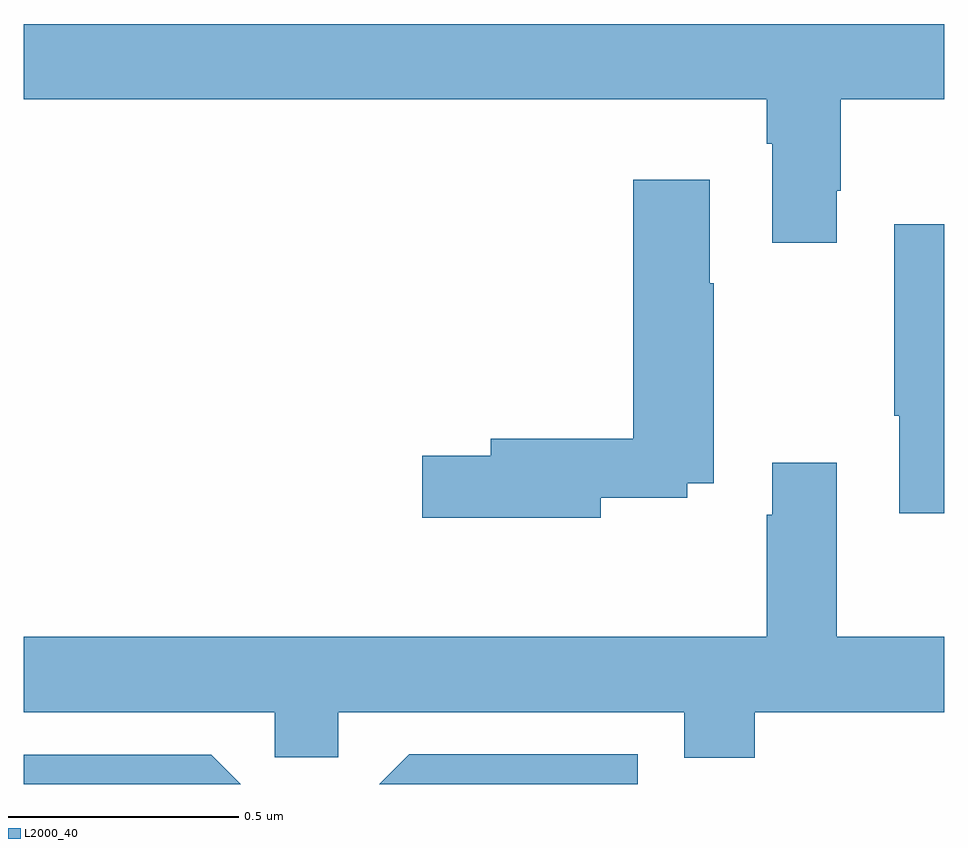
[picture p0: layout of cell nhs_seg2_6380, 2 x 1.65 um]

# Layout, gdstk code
import gdstk
lib = gdstk.Library(unit=1e-6, precision=1e-09)
def P(c, l, *ps):  # polygons
    for p in ps: c.add(gdstk.Polygon(p, *l))
L2000_40 = (2000, 40)

nhs_seg2_6380 = lib.new_cell('nhs_seg2_6380')
P(nhs_seg2_6380, L2000_40, [(191.767,662.089),(191.775,662.089),(191.775,662.288),(192,662.288),(192,662.452),(190,662.452),(190,662.288),(191.615,662.288),(191.615,662.192),(191.627,662.192),(191.627,661.977),(191.767,661.977)],
  [(191.254,661.422),(191.442,661.422),(191.442,661.454),(191.499,661.454),(191.499,661.889),(191.491,661.889),(191.491,662.113),(191.324,662.113),(191.324,661.55),(191.015,661.55),(191.015,661.514),(190.866,661.514),(190.866,661.379),(191.254,661.379)],
  [(192,662.017),(191.892,662.017),(191.892,661.601),(191.903,661.601),(191.903,661.389),(192,661.389)],
  [(192,661.12),(191.767,661.12),(191.767,661.498),(191.627,661.498),(191.627,661.385),(191.615,661.385),(191.615,661.12),(190,661.12),(190,660.956),(190.545,660.956),(190.545,660.858),(190.683,660.858),(190.683,660.956),(191.435,660.956),(191.435,660.857),(191.588,660.857),(191.588,660.956),(192,660.956)],
  [(191.334,660.865),(190.837,660.865),(190.772,660.8),(191.334,660.8)],
  [(190.407,660.864),(190,660.864),(190,660.8),(190.471,660.8)])

lib.write_gds('nhs_seg2_6380.gds')
